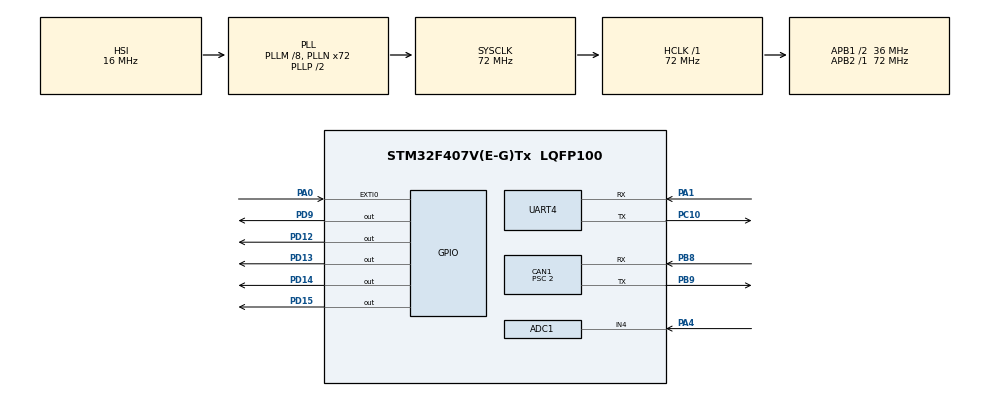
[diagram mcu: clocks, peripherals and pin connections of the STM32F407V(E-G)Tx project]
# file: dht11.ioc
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ADC1.Channel-0\#ChannelRegularConversion=ADC_CHANNEL_4
ADC1.ClockPrescaler=ADC_CLOCK_SYNC_PCLK_DIV6
ADC1.NbrOfConversionFlag=1
ADC1.Rank-0\#ChannelRegularConversion=1
ADC1.SamplingTime-0\#ChannelRegularConversion=ADC_SAMPLETIME_3CYCLES
ADC1.master=1
CAN1.BS1=CAN_BS1_15TQ
CAN1.BS2=CAN_BS2_2TQ
CAN1.CalculateBaudRate=1000000
CAN1.CalculateTimeBit=1000
CAN1.CalculateTimeQuantum=55.55555555555556
CAN1.Prescaler=2
Mcu.Family=STM32F4
Mcu.Name=STM32F407V(E-G)Tx
Mcu.Package=LQFP100
NVIC.CAN1_RX0_IRQn=true\:0\:0\:false\:false\:true\:true\:true\:true
NVIC.CAN1_RX1_IRQn=true\:0\:0\:false\:false\:true\:true\:true\:true
NVIC.CAN1_SCE_IRQn=true\:0\:0\:false\:false\:true\:true\:true\:true
NVIC.CAN1_TX_IRQn=true\:0\:0\:false\:false\:true\:true\:true\:true
NVIC.EXTI0_IRQn=true\:0\:0\:false\:false\:true\:true\:true\:true
NVIC.PriorityGroup=NVIC_PRIORITYGROUP_4
NVIC.TIM1_UP_TIM10_IRQn=true\:0\:0\:false\:false\:true\:true\:true\:true
NVIC.TIM6_DAC_IRQn=true\:0\:0\:false\:false\:true\:true\:true\:true
PA0-WKUP.Signal=GPXTI0
PA1.Mode=Asynchronous
PA1.Signal=UART4_RX
PA13.Mode=Serial_Wire
PA13.Signal=SYS_JTMS-SWDIO
PA14.Mode=Serial_Wire
PA14.Signal=SYS_JTCK-SWCLK
PA4.Signal=ADCx_IN4
PB8.Mode=CAN_Activate
PB8.Signal=CAN1_RX
PB9.Mode=CAN_Activate
PB9.Signal=CAN1_TX
PC10.Mode=Asynchronous
PC10.Signal=UART4_TX
PD12.Signal=GPIO_Output
PD13.Signal=GPIO_Output
PD14.Signal=GPIO_Output
PD15.Signal=GPIO_Output
PD9.Signal=GPIO_Output
ProjectManager.HeapSize=0x200
ProjectManager.StackSize=0x400
ProjectManager.TargetToolchain=STM32CubeIDE
RCC.48MHZClocksFreq_Value=36000000
RCC.AHBFreq_Value=72000000
RCC.APB1CLKDivider=RCC_HCLK_DIV2
RCC.APB1Freq_Value=36000000
RCC.APB1TimFreq_Value=72000000
RCC.APB2Freq_Value=72000000
RCC.APB2TimFreq_Value=72000000
RCC.CortexFreq_Value=72000000
RCC.HCLKFreq_Value=72000000
RCC.HSE_VALUE=25000000
RCC.HSI_VALUE=16000000
RCC.LSE_VALUE=32768
RCC.PLLM=8
RCC.PLLN=72
RCC.SYSCLKFreq_VALUE=72000000
RCC.SYSCLKSource=RCC_SYSCLKSOURCE_PLLCLK
RCC.VCOOutputFreq_Value=144000000
SH.ADCx_IN4.0=ADC1_IN4,IN4
TIM1.Prescaler=23
TIM6.Period=2999
TIM6.Prescaler=24000-1
UART4.VirtualMode=Asynchronous
VP_TIM1_VS_ClockSourceINT.Mode=Internal
VP_TIM6_VS_ClockSourceINT.Mode=Enable_Timer
board=custom

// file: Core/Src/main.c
/* USER CODE BEGIN Header */
/* USER CODE END Header */
#include "main.h"

/* USER CODE BEGIN Includes */
#include "DHT.h"
/* USER CODE END Includes */

ADC_HandleTypeDef hadc1;

CAN_HandleTypeDef hcan1;

TIM_HandleTypeDef htim1;
TIM_HandleTypeDef htim6;

UART_HandleTypeDef huart4;

/* USER CODE BEGIN PV */
DHT_DataTypedef DHT11_Data;
float Temperature, Humidity;
uint8_t temp;
uint8_t temp1;
uint32_t adcValue;
/* USER CODE END PV */

void SystemClock_Config(void);
static void MX_GPIO_Init(void);
static void MX_TIM1_Init(void);
static void MX_UART4_Init(void);
static void MX_ADC1_Init(void);
static void MX_CAN1_Init(void);
static void MX_TIM6_Init(void);
/* USER CODE BEGIN PFP */
void Error_Handler(void);

void CAN1_Tx();
/* USER CODE END PFP */

int main(void)
{

  /* MCU Configuration--------------------------------------------------------*/

  /* Reset of all peripherals, Initializes the Flash interface and the Systick. */
  HAL_Init();

  /* Configure the system clock */
  SystemClock_Config();

  /* Initialize all configured peripherals */
  MX_GPIO_Init();
  MX_TIM1_Init();
  MX_UART4_Init();
  MX_ADC1_Init();
  MX_CAN1_Init();
  MX_TIM6_Init();
  /* USER CODE BEGIN 2 */
  if(HAL_CAN_ActivateNotification(&hcan1,CAN_IT_TX_MAILBOX_EMPTY|CAN_IT_RX_FIFO0_MSG_PENDING|CAN_IT_BUSOFF)!= HAL_OK)

  {

	  Error_Handler();

  }

  if( HAL_CAN_Start(&hcan1) != HAL_OK)

  {

	  Error_Handler();

  }
  HAL_TIM_Base_Start(&htim1);
  /* USER CODE END 2 */

  /* Infinite loop */
  while(1)
  {
}

}

void SystemClock_Config(void)
{
  RCC_OscInitTypeDef RCC_OscInitStruct = {0};
  RCC_ClkInitTypeDef RCC_ClkInitStruct = {0};

  /** Configure the main internal regulator output voltage
  */
  __HAL_RCC_PWR_CLK_ENABLE();
  __HAL_PWR_VOLTAGESCALING_CONFIG(PWR_REGULATOR_VOLTAGE_SCALE1);

  /** Initializes the RCC Oscillators according to the specified parameters
  * in the RCC_OscInitTypeDef structure.
  */
  RCC_OscInitStruct.OscillatorType = RCC_OSCILLATORTYPE_HSI;
  RCC_OscInitStruct.HSIState = RCC_HSI_ON;
  RCC_OscInitStruct.HSICalibrationValue = RCC_HSICALIBRATION_DEFAULT;
  RCC_OscInitStruct.PLL.PLLState = RCC_PLL_ON;
  RCC_OscInitStruct.PLL.PLLSource = RCC_PLLSOURCE_HSI;
  RCC_OscInitStruct.PLL.PLLM = 8;
  RCC_OscInitStruct.PLL.PLLN = 72;
  RCC_OscInitStruct.PLL.PLLP = RCC_PLLP_DIV2;
  RCC_OscInitStruct.PLL.PLLQ = 4;
  if (HAL_RCC_OscConfig(&RCC_OscInitStruct) != HAL_OK)
  {
    Error_Handler();
  }

  /** Initializes the CPU, AHB and APB buses clocks
  */
  RCC_ClkInitStruct.ClockType = RCC_CLOCKTYPE_HCLK|RCC_CLOCKTYPE_SYSCLK
                              |RCC_CLOCKTYPE_PCLK1|RCC_CLOCKTYPE_PCLK2;
  RCC_ClkInitStruct.SYSCLKSource = RCC_SYSCLKSOURCE_PLLCLK;
  RCC_ClkInitStruct.AHBCLKDivider = RCC_SYSCLK_DIV1;
  RCC_ClkInitStruct.APB1CLKDivider = RCC_HCLK_DIV2;
  RCC_ClkInitStruct.APB2CLKDivider = RCC_HCLK_DIV1;

  if (HAL_RCC_ClockConfig(&RCC_ClkInitStruct, FLASH_LATENCY_2) != HAL_OK)
  {
    Error_Handler();
  }
}

static void MX_ADC1_Init(void)
{

  ADC_ChannelConfTypeDef sConfig = {0};

  /** Configure the global features of the ADC (Clock, Resolution, Data Alignment and number of conversion)
  */
  hadc1.Instance = ADC1;
  hadc1.Init.ClockPrescaler = ADC_CLOCK_SYNC_PCLK_DIV6;
  hadc1.Init.Resolution = ADC_RESOLUTION_12B;
  hadc1.Init.ScanConvMode = DISABLE;
  hadc1.Init.ContinuousConvMode = DISABLE;
  hadc1.Init.DiscontinuousConvMode = DISABLE;
  hadc1.Init.ExternalTrigConvEdge = ADC_EXTERNALTRIGCONVEDGE_NONE;
  hadc1.Init.ExternalTrigConv = ADC_SOFTWARE_START;
  hadc1.Init.DataAlign = ADC_DATAALIGN_RIGHT;
  hadc1.Init.NbrOfConversion = 1;
  hadc1.Init.DMAContinuousRequests = DISABLE;
  hadc1.Init.EOCSelection = ADC_EOC_SINGLE_CONV;
  if (HAL_ADC_Init(&hadc1) != HAL_OK)
  {
    Error_Handler();
  }

  /** Configure for the selected ADC regular channel its corresponding rank in the sequencer and its sample time.
  */
  sConfig.Channel = ADC_CHANNEL_4;
  sConfig.Rank = 1;
  sConfig.SamplingTime = ADC_SAMPLETIME_3CYCLES;
  if (HAL_ADC_ConfigChannel(&hadc1, &sConfig) != HAL_OK)
  {
    Error_Handler();
  }

}

static void MX_CAN1_Init(void)
{

  hcan1.Instance = CAN1;
  hcan1.Init.Prescaler = 2;
  hcan1.Init.Mode = CAN_MODE_NORMAL;
  hcan1.Init.SyncJumpWidth = CAN_SJW_1TQ;
  hcan1.Init.TimeSeg1 = CAN_BS1_15TQ;
  hcan1.Init.TimeSeg2 = CAN_BS2_2TQ;
  hcan1.Init.TimeTriggeredMode = DISABLE;
  hcan1.Init.AutoBusOff = DISABLE;
  hcan1.Init.AutoWakeUp = DISABLE;
  hcan1.Init.AutoRetransmission = DISABLE;
  hcan1.Init.ReceiveFifoLocked = DISABLE;
  hcan1.Init.TransmitFifoPriority = DISABLE;
  if (HAL_CAN_Init(&hcan1) != HAL_OK)
  {
    Error_Handler();
  }

}

static void MX_TIM1_Init(void)
{

  TIM_ClockConfigTypeDef sClockSourceConfig = {0};
  TIM_MasterConfigTypeDef sMasterConfig = {0};

  htim1.Instance = TIM1;
  htim1.Init.Prescaler = 23;
  htim1.Init.CounterMode = TIM_COUNTERMODE_UP;
  htim1.Init.Period = 65535;
  htim1.Init.ClockDivision = TIM_CLOCKDIVISION_DIV1;
  htim1.Init.RepetitionCounter = 0;
  htim1.Init.AutoReloadPreload = TIM_AUTORELOAD_PRELOAD_DISABLE;
  if (HAL_TIM_Base_Init(&htim1) != HAL_OK)
  {
    Error_Handler();
  }
  sClockSourceConfig.ClockSource = TIM_CLOCKSOURCE_INTERNAL;
  if (HAL_TIM_ConfigClockSource(&htim1, &sClockSourceConfig) != HAL_OK)
  {
    Error_Handler();
  }
  sMasterConfig.MasterOutputTrigger = TIM_TRGO_RESET;
  sMasterConfig.MasterSlaveMode = TIM_MASTERSLAVEMODE_DISABLE;
  if (HAL_TIMEx_MasterConfigSynchronization(&htim1, &sMasterConfig) != HAL_OK)
  {
    Error_Handler();
  }

}

static void MX_TIM6_Init(void)
{

  TIM_MasterConfigTypeDef sMasterConfig = {0};

  htim6.Instance = TIM6;
  htim6.Init.Prescaler = 24000-1;
  htim6.Init.CounterMode = TIM_COUNTERMODE_UP;
  htim6.Init.Period = 2999;
  htim6.Init.AutoReloadPreload = TIM_AUTORELOAD_PRELOAD_DISABLE;
  if (HAL_TIM_Base_Init(&htim6) != HAL_OK)
  {
    Error_Handler();
  }
  sMasterConfig.MasterOutputTrigger = TIM_TRGO_RESET;
  sMasterConfig.MasterSlaveMode = TIM_MASTERSLAVEMODE_DISABLE;
  if (HAL_TIMEx_MasterConfigSynchronization(&htim6, &sMasterConfig) != HAL_OK)
  {
    Error_Handler();
  }

}

static void MX_UART4_Init(void)
{

  huart4.Instance = UART4;
  huart4.Init.BaudRate = 115200;
  huart4.Init.WordLength = UART_WORDLENGTH_8B;
  huart4.Init.StopBits = UART_STOPBITS_1;
  huart4.Init.Parity = UART_PARITY_NONE;
  huart4.Init.Mode = UART_MODE_TX_RX;
  huart4.Init.HwFlowCtl = UART_HWCONTROL_NONE;
  huart4.Init.OverSampling = UART_OVERSAMPLING_16;
  if (HAL_UART_Init(&huart4) != HAL_OK)
  {
    Error_Handler();
  }

}

static void MX_GPIO_Init(void)
{
  GPIO_InitTypeDef GPIO_InitStruct = {0};

  /* GPIO Ports Clock Enable */
  __HAL_RCC_GPIOA_CLK_ENABLE();
  __HAL_RCC_GPIOD_CLK_ENABLE();
  __HAL_RCC_GPIOC_CLK_ENABLE();
  __HAL_RCC_GPIOB_CLK_ENABLE();

  /*Configure GPIO pin Output Level */
  HAL_GPIO_WritePin(GPIOD, GPIO_PIN_9|GPIO_PIN_12|GPIO_PIN_13|GPIO_PIN_14
                          |GPIO_PIN_15, GPIO_PIN_RESET);

  /*Configure GPIO pin : PA0 */
  GPIO_InitStruct.Pin = GPIO_PIN_0;
  GPIO_InitStruct.Mode = GPIO_MODE_IT_RISING;
  GPIO_InitStruct.Pull = GPIO_NOPULL;
  HAL_GPIO_Init(GPIOA, &GPIO_InitStruct);

  /*Configure GPIO pins : PD9 PD12 PD13 PD14
                           PD15 */
  GPIO_InitStruct.Pin = GPIO_PIN_9|GPIO_PIN_12|GPIO_PIN_13|GPIO_PIN_14
                          |GPIO_PIN_15;
  GPIO_InitStruct.Mode = GPIO_MODE_OUTPUT_PP;
  GPIO_InitStruct.Pull = GPIO_NOPULL;
  GPIO_InitStruct.Speed = GPIO_SPEED_FREQ_LOW;
  HAL_GPIO_Init(GPIOD, &GPIO_InitStruct);

  /* EXTI interrupt init*/
  HAL_NVIC_SetPriority(EXTI0_IRQn, 0, 0);
  HAL_NVIC_EnableIRQ(EXTI0_IRQn);

}

/* USER CODE BEGIN 4 */
void CAN1_Tx()

{
  CAN_TxHeaderTypeDef TxHeader;

  uint32_t TxMailbox;

  uint8_t message[3];

  TxHeader.DLC = 6;

  TxHeader.StdId = 0x65D;

  TxHeader.IDE   = CAN_ID_STD;

  TxHeader.RTR = CAN_RTR_DATA;
  	  	  DHT_GetData(&DHT11_Data);
  	  	  Temperature = DHT11_Data.Temperature;
  		  Humidity = DHT11_Data.Humidity;
  HAL_ADC_Start(&hadc1);
  if (HAL_ADC_PollForConversion(&hadc1, 100) == HAL_OK)
  {
      adcValue = HAL_ADC_GetValue(&hadc1);
  }

  HAL_ADC_Stop(&hadc1);
  	    message[0] =Temperature ;
  	    message[1] =Humidity;
  	    message[2] =adcValue>>8;
  	    message[3] =adcValue;
  	  if( HAL_CAN_AddTxMessage(&hcan1,&TxHeader,message,&TxMailbox) != HAL_OK)

  	  	  {
  		  	  Error_Handler();
  	  	  }

  	  while( HAL_CAN_IsTxMessagePending(&hcan1,TxMailbox));

}
void HAL_TIM_PeriodElapsedCallback(TIM_HandleTypeDef *htim)

{

	HAL_GPIO_WritePin(GPIOD, GPIO_PIN_12, 0);
	if((htim->Instance)== TIM6)

	{

		CAN1_Tx();

	}

}

void HAL_GPIO_EXTI_Callback(uint16_t GPIO_Pin)

{

	HAL_TIM_Base_Start_IT(&htim6);

	HAL_GPIO_WritePin(GPIOD, GPIO_PIN_12, 1);

}
/* USER CODE END 4 */

void Error_Handler(void)
{
}
